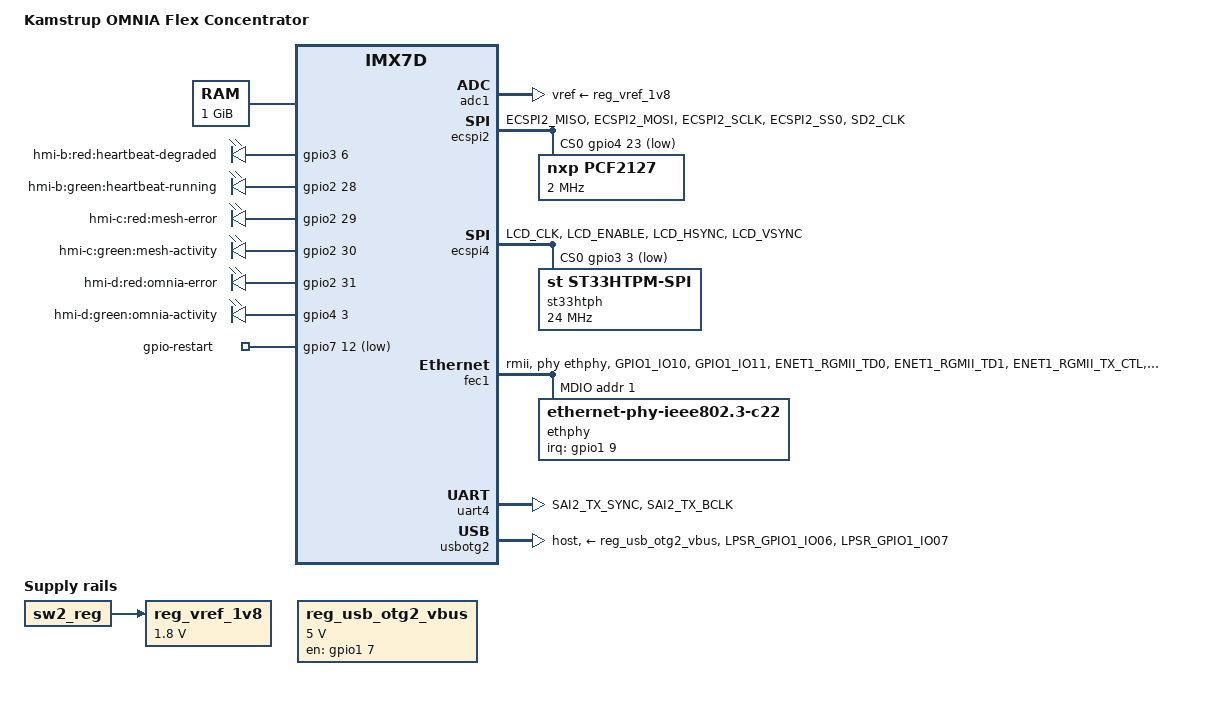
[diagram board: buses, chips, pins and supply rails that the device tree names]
// SPDX-License-Identifier: GPL-2.0
/*
 * Device Tree Source for Kamstrup OMNIA Flex Concentrator.
 *
 * Copyright (C) 2020 Kamstrup A/S
 * Author: Bruno Thomsen <bruno.thomsen@gmail.com>
 */

/dts-v1/;

#include "imx7d-tqma7.dtsi"

/* One I2C device on TQMa7 SoM is not mounted */
/delete-node/ &ds1339;

/ {
	model = "Kamstrup OMNIA Flex Concentrator";
	compatible = "kam,imx7d-flex-concentrator", "fsl,imx7d";

	memory@80000000 {
		device_type = "memory";
		/* 1024 MB - TQMa7D board configuration */
		reg = <0x80000000 0x40000000>;
	};

	reg_usb_otg2_vbus: regulator-usb-otg2-vbus {
		compatible = "regulator-fixed";
		regulator-name = "VBUS_USBOTG2";
		regulator-min-microvolt = <5000000>;
		regulator-max-microvolt = <5000000>;
		gpio = <&gpio1 7 GPIO_ACTIVE_HIGH>;
		enable-active-high;
	};

	reg_vref_1v8: regulator-vref-1v8 {
		compatible = "regulator-fixed";
		regulator-name = "VCC1V8_REF";
		regulator-min-microvolt = <1800000>;
		regulator-max-microvolt = <1800000>;
		regulator-always-on;
		vin-supply = <&sw2_reg>;
	};

	/*
	 * Human Machine Interface consists of 4 dual red/green LEDs.
	 * hmi-a:green is controlled directly by the switch-mode power supply.
	 * hmi-a:red is not used.
	 */
	gpio-leds {
		compatible = "gpio-leds";
		pinctrl-names = "default";
		pinctrl-0 = <&pinctrl_leds>;

		led-0 {
			label = "hmi-b:red:heartbeat-degraded";
			gpios = <&gpio3 6 GPIO_ACTIVE_HIGH>;
		};

		led-1 {
			label = "hmi-b:green:heartbeat-running";
			gpios = <&gpio2 28 GPIO_ACTIVE_HIGH>;
			linux,default-trigger = "heartbeat";
		};

		led-2 {
			label = "hmi-c:red:mesh-error";
			gpios = <&gpio2 29 GPIO_ACTIVE_HIGH>;
		};

		led-3 {
			label = "hmi-c:green:mesh-activity";
			gpios = <&gpio2 30 GPIO_ACTIVE_HIGH>;
		};

		led-4 {
			label = "hmi-d:red:omnia-error";
			gpios = <&gpio2 31 GPIO_ACTIVE_HIGH>;
		};

		led-5 {
			label = "hmi-d:green:omnia-activity";
			gpios = <&gpio4 3 GPIO_ACTIVE_HIGH>;
		};
	};

	/*
	 * Errata e10574 board restart workaround.
	 */
	gpio-restart {
		pinctrl-names = "default";
		pinctrl-0 = <&pinctrl_restart>;
		compatible = "gpio-restart";
		gpios = <&gpio7 12 GPIO_ACTIVE_LOW>;
		priority = <200>;
	};
};

/*
 * Analog signals
 * ADC1_IN0: SMPS - 5V output monitor (voltage divider: 1/0.2806)
 */
&adc1 {
	vref-supply = <&reg_vref_1v8>;
	status = "okay";
};

&ecspi2 {
	pinctrl-names = "default";
	pinctrl-0 = <&pinctrl_ecspi2>;
	num-chipselects = <1>;
	cs-gpios = <&gpio4 23 GPIO_ACTIVE_LOW>;
	status = "okay";

	pcf2127: rtc@0 {
		compatible = "nxp,pcf2127";
		reg = <0>;
		spi-max-frequency = <2000000>;
		reset-source;
	};
};

&ecspi4 {
	pinctrl-names = "default";
	pinctrl-0 = <&pinctrl_ecspi4>;
	num-chipselects = <1>;
	cs-gpios = <&gpio3 3 GPIO_ACTIVE_LOW>;
	status = "okay";

	/*
	 * ST chip maximum SPI clock frequency is 33 MHz.
	 *
	 * TCG specification - Section 6.4.1 Clocking:
	 * TPM shall support a SPI clock frequency range of 10-24 MHz.
	 */
	st33htph: tpm-tis@0 {
		compatible = "st,st33htpm-spi", "tcg,tpm_tis-spi";
		reg = <0>;
		spi-max-frequency = <24000000>;
	};
};

&fec1 {
	pinctrl-names = "default";
	pinctrl-0 = <&pinctrl_enet1>;
	phy-mode = "rmii";
	phy-handle = <&ethphy>;
	status = "okay";

	/*
	 * MDIO bus reset is used to generate PHY device reset before
	 * Ethernet PHY type ID auto-detection. Otherwise this communication
	 * fails as device does not answer when recommended reset circuit
	 * is used.
	 */
	mdio {
		#address-cells = <1>;
		#size-cells = <0>;

		reset-delay-us = <100000>;
		reset-post-delay-us = <500000>;
		reset-gpios = <&gpio7 15 GPIO_ACTIVE_LOW>;

		/* Microchip/Micrel KSZ8081RNB */
		ethphy: ethernet-phy@1 {
			compatible = "ethernet-phy-ieee802.3-c22";
			interrupt-parent = <&gpio1>;
			interrupts = <9 IRQ_TYPE_LEVEL_LOW>;
			reg = <1>;
		};
	};
};

/*
 * Detection signals for internal USB modules.
 * Used for robust USB plug and play handling such as USB downstream port
 * power-cycle and USB hub reset in case of misbehaving or crashed modules.
 *
 * SMPS - AC input monitor based on zero crossing.
 * Used for last gasp notification.
 */
&gpio3 {
	gpio-line-names = "", "", "", "", "", "", "", "",
	"", "", "", "", "smps-ac-monitor", "", "usb-hub-reset", "",
	"", "", "", "", "", "", "", "",
	"", "module-b-detection", "", "module-a-detection", "", "", "", "";
};

/*
 * Tamper IRQ trigger timestamp reading.
 * Used for sealed cover opened/closed notification.
 */
&gpio5 {
	gpio-line-names = "", "", "", "", "", "", "", "",
	"", "", "", "", "rtc-tamper-irq", "", "", "",
	"", "", "", "", "", "", "", "",
	"", "", "", "", "", "", "", "";
};

&iomuxc {
	pinctrl-names = "default";
	pinctrl-0 = <&pinctrl_misc>;

	pinctrl_ecspi2: ecspi2grp {
		fsl,pins = <
			MX7D_PAD_ECSPI2_MISO__ECSPI2_MISO		0x7c /* X2-15 */
			MX7D_PAD_ECSPI2_MOSI__ECSPI2_MOSI		0x74 /* X2-18 */
			MX7D_PAD_ECSPI2_SCLK__ECSPI2_SCLK		0x74 /* X2-13 */
			MX7D_PAD_ECSPI2_SS0__GPIO4_IO23			0x74 /* X2-20 */
			/* RTC - Tamper IRQ */
			MX7D_PAD_SD2_CLK__GPIO5_IO12			0x3c /* X1-92 */
		>;
	};

	pinctrl_ecspi4: ecspi4grp {
		fsl,pins = <
			MX7D_PAD_LCD_CLK__ECSPI4_MISO			0x7c /* X2-72 */
			MX7D_PAD_LCD_ENABLE__ECSPI4_MOSI		0x74 /* X2-68 */
			MX7D_PAD_LCD_HSYNC__ECSPI4_SCLK			0x74 /* X2-76 */
			MX7D_PAD_LCD_VSYNC__GPIO3_IO3			0x74 /* X2-78 */
		>;
	};

	pinctrl_enet1: enet1grp {
		fsl,pins = <
			MX7D_PAD_GPIO1_IO10__ENET1_MDIO			0x03 /* X2-48 */
			MX7D_PAD_GPIO1_IO11__ENET1_MDC			0x03 /* X2-46 */
			MX7D_PAD_ENET1_RGMII_TD0__ENET1_RGMII_TD0	0x71 /* X2-53 */
			MX7D_PAD_ENET1_RGMII_TD1__ENET1_RGMII_TD1	0x71 /* X2-55 */
			MX7D_PAD_ENET1_RGMII_TX_CTL__ENET1_RGMII_TX_CTL	0x71 /* X2-61 */
			MX7D_PAD_ENET1_RGMII_RD0__ENET1_RGMII_RD0	0x79 /* X2-56 */
			MX7D_PAD_ENET1_RGMII_RD1__ENET1_RGMII_RD1	0x79 /* X2-58 */
			MX7D_PAD_ENET1_RGMII_RX_CTL__ENET1_RGMII_RX_CTL	0x79 /* X2-64 */
			MX7D_PAD_ENET1_RGMII_RXC__ENET1_RX_ER		0x73 /* X2-52 */
			/* PHY reset: SRE_FAST, DSE_X1 */
			MX7D_PAD_ENET1_COL__GPIO7_IO15			0x00 /* X1-96 */
			/* Clock from PHY to MAC: 100kPU */
			MX7D_PAD_GPIO1_IO12__CCM_ENET_REF_CLK1		0x70 /* X3-4 */
			/* PHY interrupt: 100kPU, HYS */
			MX7D_PAD_GPIO1_IO09__GPIO1_IO9			0x78 /* X1-80 */
		>;
	};

	pinctrl_leds: ledsgrp {
		fsl,pins = <
			MX7D_PAD_LCD_DATA01__GPIO3_IO6			0x14 /* X2-82 */
			MX7D_PAD_EPDC_BDR0__GPIO2_IO28			0x14 /* X1-82 */
			MX7D_PAD_EPDC_BDR1__GPIO2_IO29			0x14 /* X1-84 */
			MX7D_PAD_EPDC_PWR_COM__GPIO2_IO30		0x14 /* X1-86 */
			MX7D_PAD_EPDC_PWR_STAT__GPIO2_IO31		0x14 /* X1-88 */
			MX7D_PAD_UART2_TX_DATA__GPIO4_IO3		0x14 /* X1-90 */
		>;
	};

	pinctrl_misc: miscgrp {
		fsl,pins = <
			/* Module A detection (low = present) */
			MX7D_PAD_LCD_DATA22__GPIO3_IO27			0x7c /* X2-105 */
			/* Module B detection (low = present) */
			MX7D_PAD_LCD_DATA20__GPIO3_IO25			0x7c /* X2-103 */
			/* SMPS - AC input monitor (high = failure) */
			MX7D_PAD_LCD_DATA07__GPIO3_IO12			0x7c /* X2-88 */
			/* USB - Hub reset */
			MX7D_PAD_LCD_DATA09__GPIO3_IO14			0x74 /* X2-92 */
		>;
	};

	pinctrl_restart: restartgrp {
		fsl,pins = <
			MX7D_PAD_ENET1_TX_CLK__GPIO7_IO12	0x74 /* X1-94 */
		>;
	};

	pinctrl_uart4: uart4grp {
		fsl,pins = <
			MX7D_PAD_SAI2_TX_SYNC__UART4_DCE_RX	0x7e /* X3-14 */
			MX7D_PAD_SAI2_TX_BCLK__UART4_DCE_TX	0x76 /* X3-16 */
		>;
	};
};

&iomuxc_lpsr {
	pinctrl_usbotg2: usbotg2grp {
		fsl,pins = <
			MX7D_PAD_LPSR_GPIO1_IO06__USB_OTG2_OC	0x5c /* X3-11 */
			MX7D_PAD_LPSR_GPIO1_IO07__GPIO1_IO7	0x59 /* X3-9 */
		>;
	};

};

&uart4 {
	pinctrl-names = "default";
	pinctrl-0 = <&pinctrl_uart4>;
	assigned-clocks = <&clks IMX7D_UART4_ROOT_SRC>;
	assigned-clock-parents = <&clks IMX7D_OSC_24M_CLK>;
};

&usbotg2 {
	pinctrl-names = "default";
	pinctrl-0 = <&pinctrl_usbotg2>;
	vbus-supply = <&reg_usb_otg2_vbus>;
	srp-disable;
	hnp-disable;
	adp-disable;
	over-current-active-low;
	dr_mode = "host";
	status = "okay";
};

/*
 * External watchdog feature provided by pcf2127.
 */
&wdog1 {
	status = "disabled";
};
